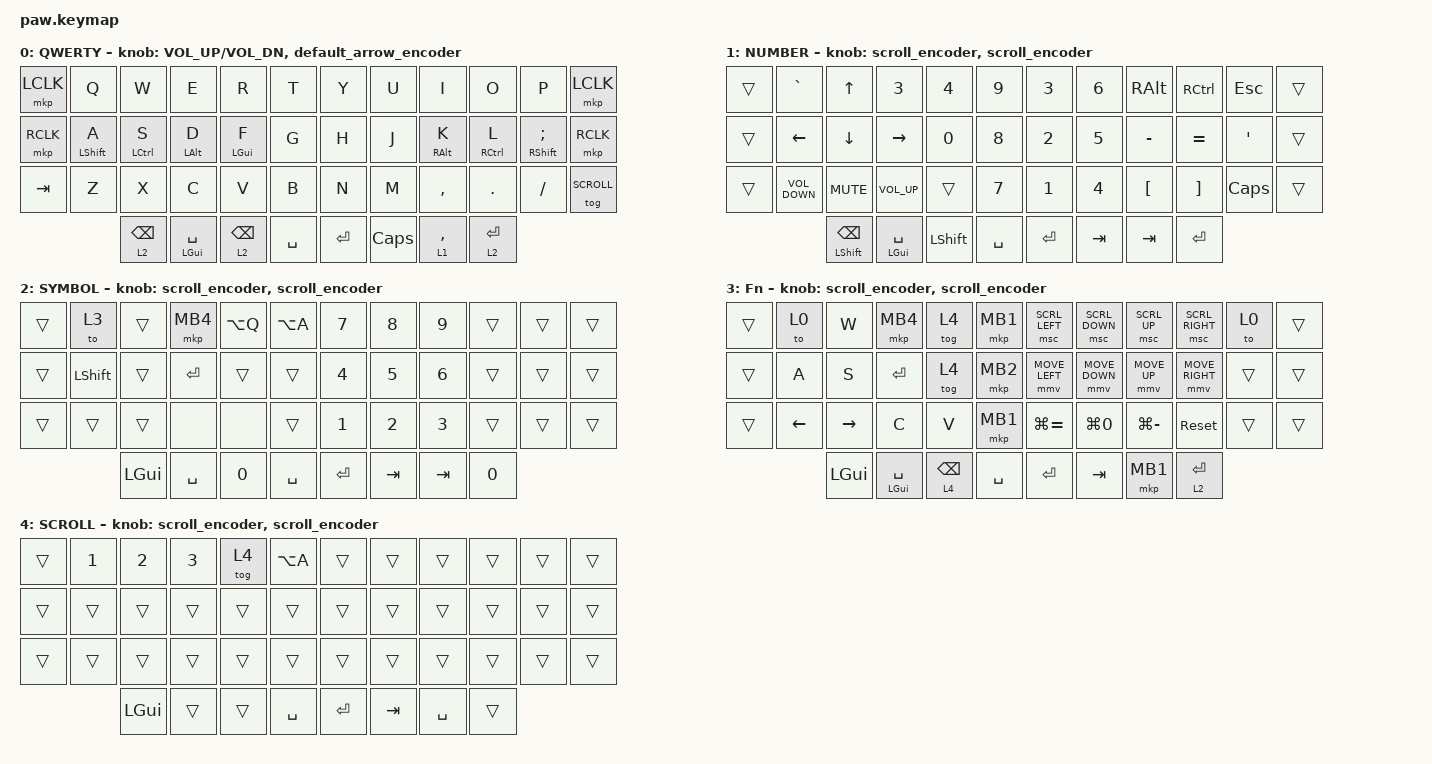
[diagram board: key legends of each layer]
// Copyright (c) 2022 The ZMK Contributors
// SPDX-License-Identifier: MIT

#define ZMK_POINTING_DEFAULT_MOVE_VAL 2500
#define ZMK_POINTING_DEFAULT_SCRL_VAL 20
#define SCROLL 4

#include <input/processors.dtsi>
#include <zephyr/dt-bindings/input/input-event-codes.h>
#include <behaviors.dtsi>
#include <dt-bindings/zmk/keys.h>
#include <dt-bindings/zmk/pointing.h>
#include <dt-bindings/zmk/rgb.h>

/* Both the local left trackball and the split right trackball scroll on layer 4. */

&trackball_listener {
    scroll_mode {
        layers = <SCROLL>;
        input-processors = <&zip_xy_to_scroll_mapper>, <&zip_scroll_scaler 1 9>;
    };
};

&pmw_listener {
    scroll_mode {
        layers = <SCROLL>;
        input-processors = <&zip_xy_to_scroll_mapper>, <&zip_scroll_scaler 1 9>;
    };
};

/* 挂载到 &mmv_input_listener：在 4 号图层激活时强制将 XY 位移转化为滚轮信号 */

&mmv_input_listener {
    input-processors = <&zip_xy_scaler 1 1>;

    scroll_mode {
        layers = <4>;
        input-processors = <&zip_xy_to_scroll_mapper>, <&zip_scroll_scaler 1 1>;
    };
};

&msc_input_listener { input-processors = <&zip_scroll_scaler 1 1>; };

&msc {
    acceleration-exponent = <0>;
    time-to-max-speed-ms = <0>;
    delay-ms = <0>;
};

&mmv {
    acceleration-exponent = <1>;
    time-to-max-speed-ms = <200>;
    delay-ms = <0>;
};

&soft_off { hold-time-ms = <2000>; };

/ {
    macros {
        open_bg: open_bg {
            compatible = "zmk,behavior-macro";
            #binding-cells = <0>;
            bindings =
                <&macro_press>,
                <&kp LGUI>,
                <&macro_tap>,
                <&mkp LCLK>,
                <&macro_release>,
                <&kp LGUI>;
        };
    };

    behaviors {
        td0: td0 {
            compatible = "zmk,behavior-tap-dance";
            display-name = "Shift/Caps Lock Tap Dance";
            #binding-cells = <0>;
            bindings = <&kp LEFT_SHIFT>, <&kp CAPS>;
        };

        hm: homerow_mods {
            compatible = "zmk,behavior-hold-tap";
            #binding-cells = <2>;
            tapping-term-ms = <200>;
            quick-tap-ms = <175>;
            require-prior-idle-ms = <150>;
            flavor = "tap-preferred";
            bindings = <&kp>, <&kp>;
        };
    };

    rgb_encoder: rgb_encoder {
        compatible = "zmk,behavior-sensor-rotate";
        #sensor-binding-cells = <0>;
        bindings = <&rgb_ug RGB_BRI>, <&rgb_ug RGB_BRD>;
    };

    scroll_encoder: scroll_encoder {
        compatible = "zmk,behavior-sensor-rotate";
        #sensor-binding-cells = <0>;
        bindings = <&msc SCRL_DOWN>, <&msc SCRL_UP>;

        tap-ms = <20>;
    };

    default_arrow_encoder: default_arrow_encoder {
        compatible = "zmk,behavior-sensor-rotate";
        #sensor-binding-cells = <0>;
        bindings = <&kp LEFT_ARROW>, <&kp RIGHT_ARROW>;

        tap-ms = <20>;
    };

    combos {
        compatible = "zmk,combos";

        rt {
            bindings = <&kp LEFT_PARENTHESIS>;
            key-positions = <4 5>;
        };

        yu {
            bindings = <&kp RIGHT_PARENTHESIS>;
            key-positions = <6 7>;
        };

        vb {
            bindings = <&kp LS(APOSTROPHE)>;
            key-positions = <28 29>;
        };

        nm {
            bindings = <&kp APOSTROPHE>;
            key-positions = <30 31>;
        };

        qw {
            bindings = <&kp ESC>;
            key-positions = <1 2>;
        };
    };

    keymap {
        compatible = "zmk,keymap";

        default_layer {
            display-name = "QWERTY";
            bindings = <
&mkp LCLK  &kp Q             &kp W               &kp E               &kp R            &kp T          &kp Y    &kp U     &kp I            &kp O                &kp P                      &mkp LCLK
&mkp RCLK  &hm LEFT_SHIFT A  &hm LEFT_CONTROL S  &hm LEFT_ALT D      &hm LEFT_GUI F   &kp G          &kp H    &kp J     &hm RIGHT_ALT K  &hm RIGHT_CONTROL L  &hm RIGHT_SHIFT SEMICOLON  &mkp RCLK
&kp TAB    &kp Z             &kp X               &kp C               &kp V            &kp B          &kp N    &kp M     &kp COMMA        &kp DOT              &kp FSLH                   &tog SCROLL
                             &lt 2 BACKSPACE     &mt LEFT_GUI SPACE  &lt 2 BACKSPACE  &kp SPACE      &kp RET  &kp CAPS  &lt 1 COMMA      &lt 2 ENTER
            >;

            sensor-bindings =
                <&inc_dec_kp C_VOL_UP C_VOL_DN>,
                <&default_arrow_encoder>;
        };

        lower_layer {
            display-name = "NUMBER";
            bindings = <
&trans  &kp GRAVE          &kp UP_ARROW              &kp N3              &kp N4          &kp N9            &kp NUMBER_3  &kp NUMBER_6  &kp RIGHT_ALT  &kp RIGHT_CONTROL  &kp ESC   &trans
&trans  &kp LEFT_ARROW     &kp DOWN_ARROW            &kp RIGHT_ARROW     &kp NUMBER_0    &kp NUMBER_8      &kp NUMBER_2  &kp N5        &kp MINUS      &kp EQUAL          &kp SQT   &trans
&trans  &kp C_VOLUME_DOWN  &kp K_MUTE                &kp C_VOLUME_UP     &trans          &kp N7            &kp NUMBER_1  &kp NUMBER_4  &kp LBKT       &kp RBKT           &kp CAPS  &trans
                           &mt LEFT_SHIFT BACKSPACE  &mt LEFT_GUI SPACE  &kp LEFT_SHIFT  &kp SPACE         &kp RET       &kp TAB       &kp TAB        &kp ENTER
            >;

            sensor-bindings = <&scroll_encoder>, <&scroll_encoder>;
        };

        raise_layer {
            display-name = "SYMBOL";
            bindings = <
&trans  &to 3           &trans    &mkp MB4   &kp LA(Q)     &kp LA(A)      &kp NUMBER_7  &kp NUMBER_8  &kp NUMBER_9  &trans        &trans  &trans
&trans  &kp LEFT_SHIFT  &trans    &kp ENTER  &trans        &trans         &kp NUMBER_4  &kp NUMBER_5  &kp NUMBER_6  &trans        &trans  &trans
&trans  &trans          &trans    &none      &none         &trans         &kp NUMBER_1  &kp NUMBER_2  &kp NUMBER_3  &trans        &trans  &trans
                        &kp LGUI  &kp SPACE  &kp NUMBER_0  &kp SPACE      &kp RET       &kp TAB       &kp TAB       &kp NUMBER_0
            >;

            sensor-bindings = <&scroll_encoder>, <&scroll_encoder>;
        };

        layer_3 {
            display-name = "Fn";
            bindings = <
&trans  &to 0           &kp W            &mkp MB4            &tog 4           &mkp MB1       &msc SCRL_LEFT  &msc SCRL_DOWN    &msc SCRL_UP   &msc SCRL_RIGHT  &to 0   &trans
&trans  &kp A           &kp S            &kp ENTER           &tog 4           &mkp MB2       &mmv MOVE_LEFT  &mmv MOVE_DOWN    &mmv MOVE_UP   &mmv MOVE_RIGHT  &trans  &trans
&trans  &kp LEFT_ARROW  &kp RIGHT_ARROW  &kp C               &kp V            &mkp MB1       &kp LG(EQUAL)   &kp LG(NUMBER_0)  &kp LG(MINUS)  &sys_reset       &trans  &trans
                        &kp LGUI         &mt LEFT_GUI SPACE  &lt 4 BACKSPACE  &kp SPACE      &kp RET         &kp TAB           &mkp MB1       &lt 2 ENTER
            >;

            sensor-bindings = <&scroll_encoder>, <&scroll_encoder>;
        };

        mouse_lock_layer {
            display-name = "SCROLL";
            bindings = <
&trans  &kp NUMBER_1  &kp NUMBER_2  &kp NUMBER_3  &tog 4  &kp LA(A)      &trans   &trans   &trans     &trans  &trans  &trans
&trans  &trans        &trans        &trans        &trans  &trans         &trans   &trans   &trans     &trans  &trans  &trans
&trans  &trans        &trans        &trans        &trans  &trans         &trans   &trans   &trans     &trans  &trans  &trans
                      &kp LGUI      &trans        &trans  &kp SPACE      &kp RET  &kp TAB  &kp SPACE  &trans
            >;

            sensor-bindings = <&scroll_encoder>, <&scroll_encoder>;
        };
    };
};
